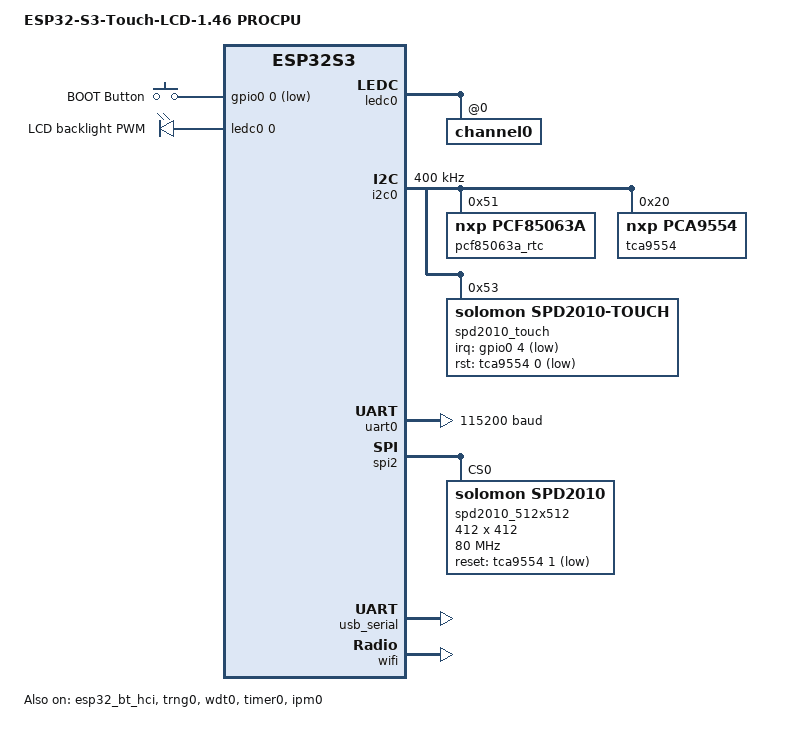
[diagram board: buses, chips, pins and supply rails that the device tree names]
/*
 * Copyright (c) 2025 Gratian Crisan
 * SPDX-License-Identifier: Apache-2.0
 */

/dts-v1/;
#include <espressif/esp32s3/esp32s3_r8.dtsi>
#include "esp32s3_touch_lcd_1_46-pinctrl.dtsi"
#include <espressif/partitions_0x0_amp_16M.dtsi>
#include <zephyr/dt-bindings/gpio/gpio.h>
#include <zephyr/dt-bindings/pwm/pwm.h>
#include <zephyr/dt-bindings/spi/spi.h>
#include <zephyr/dt-bindings/display/panel.h>
#include <zephyr/dt-bindings/input/input-event-codes.h>

/ {
	model = "ESP32-S3-Touch-LCD-1.46 PROCPU";
	compatible = "espressif,esp32s3";

	aliases {
		sw0 = &button0;
		i2c-0 = &i2c0;
		uart-0 = &uart0;
		watchdog0 = &wdt0;
		rtc = &pcf85063a_rtc;
		pwm-0 = &ledc0;
		pwm-lcd0 = &pwm_lcd0;
	};

	chosen {
		zephyr,sram = &sram0;
		zephyr,flash = &flash0;
		zephyr,code-partition = &slot0_partition;
		zephyr,console = &usb_serial;
		zephyr,shell-uart = &usb_serial;
		zephyr,bt-hci = &esp32_bt_hci;
		zephyr,ipc = &ipm0;
		zephyr,ipc_shm = &shm0;
		zephyr,display = &spd2010_512x512;
	};

	buttons {
		compatible = "gpio-keys";
		button0: button_0 {
			gpios = <&gpio0 0 (GPIO_PULL_UP | GPIO_ACTIVE_LOW)>;
			label = "BOOT Button";
			zephyr,code = <INPUT_KEY_0>;
		};
	};

	pwmleds {
		compatible = "pwm-leds";

		pwm_lcd0: pwm_0 {
			label = "LCD backlight PWM";
			pwms = <&ledc0 0 PWM_HZ(250) PWM_POLARITY_NORMAL>;
		};
	};
};

&flash0 {
	reg = <0x0 DT_SIZE_M(16)>;
};

&gpio0 {
	status = "okay";
};

&gpio1 {
	status = "okay";
};

&ledc0 {
	#address-cells = <1>;
	#size-cells = <0>;
	status = "okay";
	pinctrl-0 = <&ledc0_default>;
	pinctrl-names = "default";

	channel0@0 {
		reg = <0x0>;
		timer = <0>;
	};
};

&i2c0 {
	clock-frequency = <I2C_BITRATE_FAST>;
	pinctrl-0 = <&i2c0_default>;
	pinctrl-names = "default";
	status = "okay";

	pcf85063a_rtc: pcf85063a@51 {
		compatible = "nxp,pcf85063a";
		reg = <0x51>;
		status = "okay";
	};

	tca9554: tca9554@20 {
		compatible = "nxp,pca9554";
		reg = <0x20>;
		gpio-controller;
		#gpio-cells = <2>;
		ngpios = <8>;
		status = "okay";
	};

	spd2010_touch: spd2010-touch@53 {
		compatible = "solomon,spd2010-touch";
		reg = <0x53>;
		irq-gpios = <&gpio0 4 GPIO_ACTIVE_LOW>;
		rst-gpios = <&tca9554 0 GPIO_ACTIVE_LOW>;
		status = "okay";
	};
};

&uart0 {
	status = "okay";
	current-speed = <115200>;
	pinctrl-0 = <&uart0_default>;
	pinctrl-names = "default";
};

&spi2 {
	status = "okay";
	#address-cells = <1>;
	#size-cells = <0>;
	pinctrl-0 = <&spim2_default>;
	pinctrl-names = "default";
	half-duplex;
	d-pol-low;
	cs-hold-time = <1>;
	dma-enabled;
	dmas = <&dma 0>, <&dma 1>;
	dma-names = "rx", "tx";

	spd2010_512x512: spd2010@0 {
		compatible = "solomon,spd2010";
		reg = <0>;
		reset-gpios = <&tca9554 1 GPIO_ACTIVE_LOW>;
		spi-max-frequency = <80000000>;
		pixel-format = <PANEL_PIXEL_FORMAT_RGB_888>;
		width = <412>;
		height = <412>;
		status = "okay";
	};
};

&usb_serial {
	status = "okay";
};

&esp32_bt_hci {
	status = "okay";
};

&wifi {
	status = "okay";
};

&trng0 {
	status = "okay";
};

&wdt0 {
	status = "okay";
};

&timer0 {
	status = "okay";
};

&ipm0 {
	status = "okay";
};

&dma {
	status = "okay";
};
